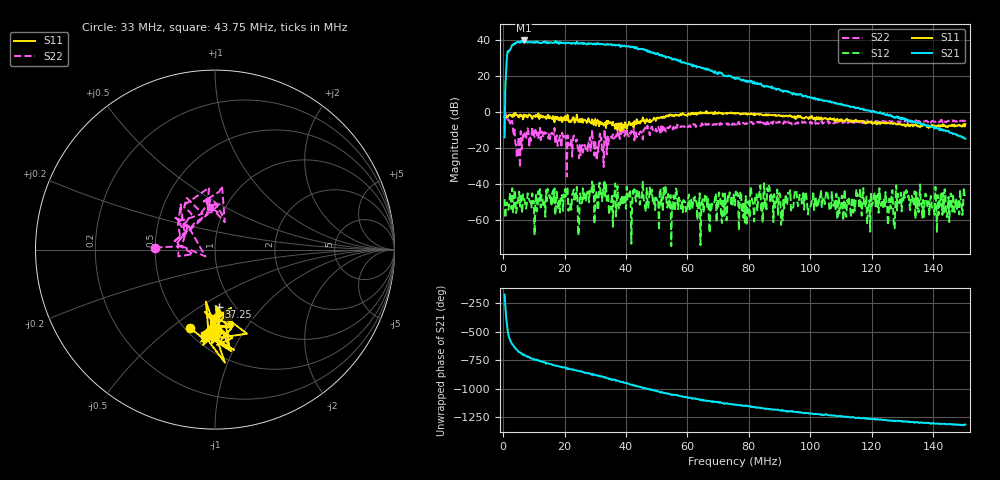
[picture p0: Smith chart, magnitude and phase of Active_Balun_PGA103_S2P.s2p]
!Keysight Technologies N9926A: A.10.18
!Date: Sunday, 26 July 2020 01:13:55
!Timezone:
!Model: N9926A
!Serial: MY57271140
!GPS Latitude:
!GPS Longitude:
!GPS TimeStamp: 0001-01-01 00:00:00Z
!GPS Seconds Since Last Read: 0
!CHECKSUM:0672457289
!Correction: S11(ON U)S21(ON U)S12(ON U)S22(ON U)
!S2P File: Measurements:S11,S21,S12,S22:
# Hz S DB R 50
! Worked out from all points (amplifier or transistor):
!   601 points, 500 kHz to 150.5 MHz, reference 50 ohm
!   highest |S21| = 40.0 dB at 6.75 MHz (marker M1)
!   |S21| within 3 dB of that: 2.885 MHz to 38.06 MHz (35.18 MHz wide, 172 % of centre)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
!   unconditionally stable (mu >= 1): 33.57 MHz to 36.38 MHz; 56.57 MHz to 60.25 MHz; 75.27 MHz to end of sweep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
!   at 25.5 MHz: K = 1.60, MAG = 40.1 dB, |S12| = -51.0 dB
!   at 75.5 MHz: K = 3.62, MAG = 26.8 dB, |S12| = -52.1 dB
!   at 150.5 MHz: K = 330.79, MAG = -12.4 dB, |S12| = -46.4 dB
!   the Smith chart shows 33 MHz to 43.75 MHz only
!   S11 on the Smith chart (normalised r, x): 33 MHz: 0.53, -0.59; 37.25 MHz: 0.85, -0.61; 43.75 MHz: 0.57, -0.70
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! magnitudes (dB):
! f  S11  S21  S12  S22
! 500 kHz  -2.7  -14.1  -48.6  -0.7
! 1.5 MHz  -3.0  34.0  -53.7  -5.3
! 2 MHz  -1.7  34.4  -51.1  -4.7
! 4.75 MHz  -1.6  39.2  -49.7  -25.3
! 6.75 MHz  -1.4  40.0  -48.2  -13.8
! 16 MHz  -3.9  38.6  -45.6  -11.5
! 25.5 MHz  -5.6  38.4  -51.0  -19.5
! 33 MHz  -6.8  37.6  -37.9  -9.5
! 37.25 MHz  -9.9  37.4  -41.3  -10.0
! 43.75 MHz  -6.4  35.0  -47.0  -12.5
! 50.5 MHz  -3.5  32.6  -48.5  -8.1
! 67.75 MHz  -0.2  23.1  -55.3  -7.2
! 75.5 MHz  -0.9  18.5  -52.1  -7.0
! 78.5 MHz  -0.7  17.4  -51.1  -6.6
! 86.75 MHz  -1.5  14.1  -42.2  -6.1
! 91 MHz  -2.5  12.0  -60.4  -5.9
! 92.75 MHz  -2.4  11.6  -45.0  -5.3
! 100.5 MHz  -2.1  8.1  -49.6  -6.5
! 125.5 MHz  -6.0  -2.0  -59.0  -5.7
! 131.2 MHz  -7.6  -3.8  -43.5  -4.4
! 140.5 MHz  -7.5  -9.2  -57.3  -5.4
! 150.5 MHz  -6.7  -14.9  -46.4  -5.6
